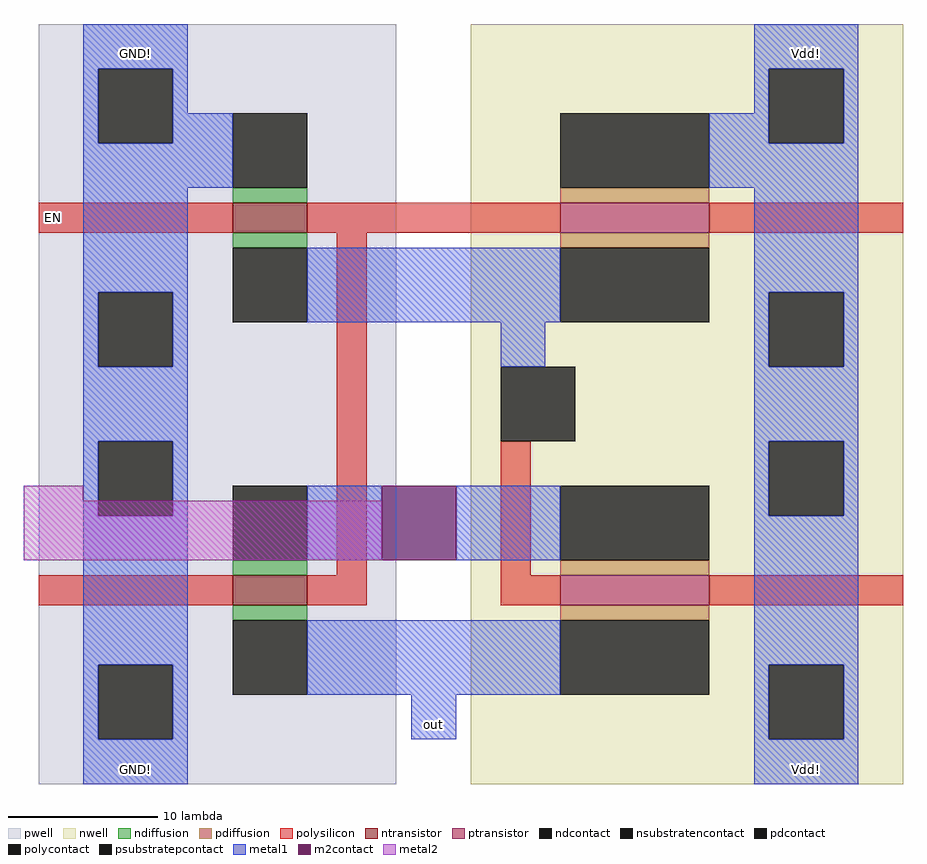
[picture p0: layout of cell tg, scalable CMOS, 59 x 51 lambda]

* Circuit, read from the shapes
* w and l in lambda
.subckt tg EN GND! Vdd! out
M1 n1 EN out GND! nfet w=5 l=2
M2 GND! EN n2 GND! nfet w=5 l=2
M3 n1 n2 out Vdd! pfet w=10 l=2
M4 Vdd! EN n2 Vdd! pfet w=10 l=2
.ends

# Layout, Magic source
magic
tech scmos
<< nwell >>
rect 116 43 145 94
<< pwell >>
rect 87 43 111 94
<< ntransistor >>
rect 100 80 105 82
rect 100 55 105 57
<< ptransistor >>
rect 122 80 132 82
rect 122 55 132 57
<< ndiffusion >>
rect 100 82 105 83
rect 100 79 105 80
rect 100 57 105 58
rect 100 54 105 55
<< pdiffusion >>
rect 122 82 132 83
rect 122 79 132 80
rect 122 57 132 58
rect 122 54 132 55
<< ndcontact >>
rect 100 83 105 88
rect 100 74 105 79
rect 100 58 105 63
rect 100 49 105 54
<< pdcontact >>
rect 122 83 132 88
rect 122 74 132 79
rect 122 58 132 63
rect 122 49 132 54
<< psubstratepcontact >>
rect 91 86 96 91
rect 91 71 96 76
rect 91 61 96 66
rect 91 46 96 51
<< nsubstratencontact >>
rect 136 86 141 91
rect 136 71 141 76
rect 136 61 141 66
rect 136 46 141 51
<< polysilicon >>
rect 87 80 100 82
rect 105 80 122 82
rect 132 80 145 82
rect 107 57 109 80
rect 87 55 100 57
rect 105 55 109 57
rect 118 57 120 66
rect 118 55 122 57
rect 132 55 145 57
<< polycontact >>
rect 118 66 123 71
<< metal1 >>
rect 90 91 97 94
rect 90 86 91 91
rect 96 88 97 91
rect 135 91 142 94
rect 135 88 136 91
rect 96 86 100 88
rect 90 83 100 86
rect 132 86 136 88
rect 141 86 142 91
rect 132 83 142 86
rect 90 76 97 83
rect 90 71 91 76
rect 96 71 97 76
rect 105 74 122 79
rect 135 76 142 83
rect 90 66 97 71
rect 118 71 121 74
rect 135 71 136 76
rect 141 71 142 76
rect 135 66 142 71
rect 90 61 91 66
rect 96 61 97 66
rect 90 51 97 61
rect 105 58 110 63
rect 115 58 122 63
rect 135 61 136 66
rect 141 61 142 66
rect 90 46 91 51
rect 96 46 97 51
rect 105 49 122 54
rect 135 51 142 61
rect 112 46 115 49
rect 135 46 136 51
rect 141 46 142 51
rect 90 43 97 46
rect 135 43 142 46
<< m2contact >>
rect 110 58 115 63
<< metal2 >>
rect 86 62 90 63
rect 86 58 110 62
<< labels >>
rlabel metal1 112 47 115 47 1 out
rlabel metal1 136 44 141 44 1 Vdd!
rlabel polysilicon 88 80 88 82 3 EN
rlabel metal1 136 92 141 92 5 Vdd!
rlabel metal1 91 92 96 92 5 GND!
rlabel metal1 91 44 96 44 1 GND!
<< end >>
